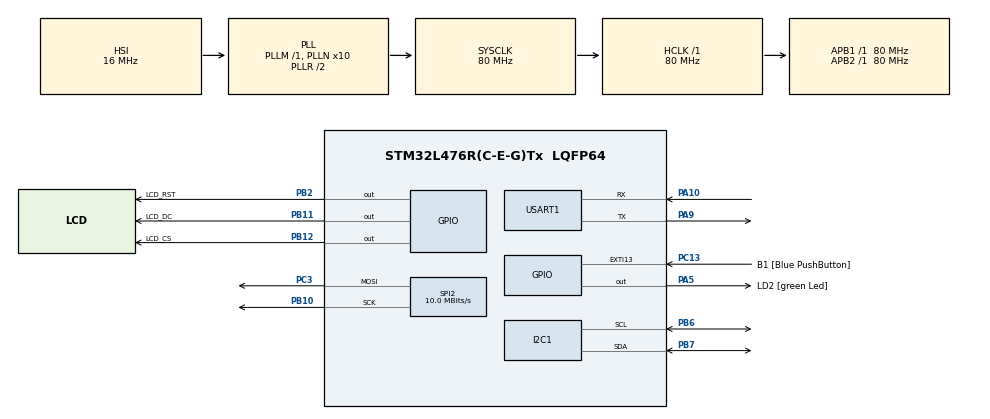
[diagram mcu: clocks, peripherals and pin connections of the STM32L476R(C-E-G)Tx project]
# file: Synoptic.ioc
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Dma.Request0=USART1_RX
Dma.Request1=SPI2_TX
Dma.SPI2_TX.1.Direction=DMA_MEMORY_TO_PERIPH
Dma.SPI2_TX.1.Instance=DMA1_Channel5
Dma.SPI2_TX.1.MemDataAlignment=DMA_MDATAALIGN_BYTE
Dma.SPI2_TX.1.MemInc=DMA_MINC_ENABLE
Dma.SPI2_TX.1.Mode=DMA_NORMAL
Dma.SPI2_TX.1.PeriphDataAlignment=DMA_PDATAALIGN_BYTE
Dma.SPI2_TX.1.PeriphInc=DMA_PINC_DISABLE
Dma.SPI2_TX.1.Priority=DMA_PRIORITY_LOW
Dma.USART1_RX.0.Direction=DMA_PERIPH_TO_MEMORY
Dma.USART1_RX.0.Instance=DMA2_Channel7
Dma.USART1_RX.0.MemDataAlignment=DMA_MDATAALIGN_BYTE
Dma.USART1_RX.0.MemInc=DMA_MINC_ENABLE
Dma.USART1_RX.0.Mode=DMA_NORMAL
Dma.USART1_RX.0.PeriphDataAlignment=DMA_PDATAALIGN_BYTE
Dma.USART1_RX.0.PeriphInc=DMA_PINC_DISABLE
Dma.USART1_RX.0.Priority=DMA_PRIORITY_LOW
I2C1.Timing=0x10909CEC
IWDG.Prescaler=IWDG_PRESCALER_64
Mcu.Family=STM32L4
Mcu.Name=STM32L476R(C-E-G)Tx
Mcu.Package=LQFP64
NVIC.DMA1_Channel5_IRQn=true\:0\:0\:false\:false\:true\:false\:true\:true
NVIC.DMA2_Channel7_IRQn=true\:0\:0\:false\:false\:true\:false\:true\:true
NVIC.PriorityGroup=NVIC_PRIORITYGROUP_4
NVIC.RTC_Alarm_IRQn=true\:0\:0\:false\:false\:true\:true\:true\:true
NVIC.USART1_IRQn=true\:0\:0\:false\:false\:true\:true\:true\:true
PA10.Mode=Asynchronous
PA10.Signal=USART1_RX
PA13\ (JTMS-SWDIO).GPIO_Label=TMS
PA13\ (JTMS-SWDIO).Mode=Serial_Wire
PA13\ (JTMS-SWDIO).Signal=SYS_JTMS-SWDIO
PA14\ (JTCK-SWCLK).GPIO_Label=TCK
PA14\ (JTCK-SWCLK).Mode=Serial_Wire
PA14\ (JTCK-SWCLK).Signal=SYS_JTCK-SWCLK
PA2.GPIO_Label=USART_TX
PA2.GPIO_Mode=GPIO_MODE_AF_PP
PA2.GPIO_PuPd=GPIO_NOPULL
PA2.GPIO_Speed=GPIO_SPEED_FREQ_VERY_HIGH
PA2.Signal=USART2_TX
PA3.GPIO_Label=USART_RX
PA3.GPIO_Mode=GPIO_MODE_AF_PP
PA3.GPIO_PuPd=GPIO_NOPULL
PA3.GPIO_Speed=GPIO_SPEED_FREQ_VERY_HIGH
PA3.Signal=USART2_RX
PA5.GPIO_Label=LD2 [green Led]
PA5.GPIO_ModeDefaultOutputPP=GPIO_MODE_OUTPUT_PP
PA5.GPIO_PuPd=GPIO_NOPULL
PA5.GPIO_Speed=GPIO_SPEED_FREQ_LOW
PA5.Signal=GPIO_Output
PA9.Mode=Asynchronous
PA9.Signal=USART1_TX
PB10.Mode=TX_Only_Simplex_Unidirect_Master
PB10.Signal=SPI2_SCK
PB11.GPIO_Label=LCD_DC
PB11.Signal=GPIO_Output
PB12.GPIO_Label=LCD_CS
PB12.PinState=GPIO_PIN_SET
PB12.Signal=GPIO_Output
PB2.GPIO_Label=LCD_RST
PB2.Signal=GPIO_Output
PB3\ (JTDO-TRACESWO).GPIO_Label=SWO
PB3\ (JTDO-TRACESWO).Signal=SYS_JTDO-SWO
PB6.Mode=I2C
PB6.Signal=I2C1_SCL
PB7.Mode=I2C
PB7.Signal=I2C1_SDA
PC13.GPIO_Label=B1 [Blue PushButton]
PC13.GPIO_ModeDefaultEXTI=GPIO_MODE_IT_FALLING
PC13.GPIO_PuPd=GPIO_NOPULL
PC13.Signal=GPXTI13
PC14-OSC32_IN\ (PC14).Mode=LSE-External-Oscillator
PC14-OSC32_IN\ (PC14).Signal=RCC_OSC32_IN
PC15-OSC32_OUT\ (PC15).Mode=LSE-External-Oscillator
PC15-OSC32_OUT\ (PC15).Signal=RCC_OSC32_OUT
PC3.Mode=TX_Only_Simplex_Unidirect_Master
PC3.Signal=SPI2_MOSI
PH0-OSC_IN\ (PH0).Signal=RCC_OSC_IN
PH1-OSC_OUT\ (PH1).Signal=RCC_OSC_OUT
ProjectManager.HeapSize=0x200
ProjectManager.StackSize=0x400
ProjectManager.TargetToolchain=STM32CubeIDE
RCC.ADCFreq_Value=64000000
RCC.AHBFreq_Value=80000000
RCC.APB1Freq_Value=80000000
RCC.APB1TimFreq_Value=80000000
RCC.APB2Freq_Value=80000000
RCC.APB2TimFreq_Value=80000000
RCC.CortexFreq_Value=80000000
RCC.HCLKFreq_Value=80000000
RCC.HSE_VALUE=8000000
RCC.HSI_VALUE=16000000
RCC.MSI_VALUE=4000000
RCC.PLLN=10
RCC.PLLSourceVirtual=RCC_PLLSOURCE_HSI
RCC.PREFETCH_ENABLE=1
RCC.SYSCLKFreq_VALUE=80000000
RCC.SYSCLKSource=RCC_SYSCLKSOURCE_PLLCLK
RCC.USBFreq_Value=64000000
RCC.VCOOutputFreq_Value=160000000
RTC.Alarm-Alarm\ A=RTC_ALARM_A
RTC.Format=RTC_FORMAT_BIN
SPI2.BaudRatePrescaler=SPI_BAUDRATEPRESCALER_8
SPI2.CalculateBaudRate=10.0 MBits/s
SPI2.DataSize=SPI_DATASIZE_8BIT
SPI2.Direction=SPI_DIRECTION_2LINES
SPI2.Mode=SPI_MODE_MASTER
SPI2.NSSPMode=SPI_NSS_PULSE_DISABLE
SPI2.VirtualType=VM_MASTER
USART1.OverrunDisableParam=ADVFEATURE_OVERRUN_DISABLE
USART1.VirtualMode-Asynchronous=VM_ASYNC
VP_IWDG_VS_IWDG.Mode=IWDG_Activate
VP_RTC_VS_RTC_Activate.Mode=RTC_Enabled
VP_RTC_VS_RTC_Alarm_A_Intern.Mode=Alarm A
VP_RTC_VS_RTC_Calendar.Mode=RTC_Calendar
board=NUCLEO-L476RG

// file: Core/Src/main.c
/* USER CODE BEGIN Header */
/**
  ******************************************************************************
  * @file           : main.c
  * @brief          : Main program body
  ******************************************************************************
  * @attention
  *
  * Copyright (c) 2022 STMicroelectronics.
  * All rights reserved.
  *
  * This software is licensed under terms that can be found in the LICENSE file
  * in the root directory of this software component.
  * If no LICENSE file comes with this software, it is provided AS-IS.
  *
  ******************************************************************************
  */
/* USER CODE END Header */
#include "main.h"
#include "dma.h"
#include "i2c.h"
#include "iwdg.h"
#include "rtc.h"
#include "spi.h"
#include "usart.h"
#include "gpio.h"

/* USER CODE BEGIN Includes */
#include "lcd.h"
#include "lps25hb.h"
#include <stdio.h>
#include "hagl.h"
#include "font6x9.h"
#include "font5x8.h"
#include <wchar.h>
#include "icons.c"
#include <math.h>
#include <stdbool.h>
#include <string.h>
#include "24aa01.h"

/* USER CODE END Includes */

/* USER CODE BEGIN PD */
#define MAXTXTLEN			100

#define RX_BUF_SIZE		1
#define SF_BUF_SIZE		100

/* USER CODE END PD */

/* USER CODE BEGIN PV */
uint8_t rx_buf[RX_BUF_SIZE];
uint8_t sf_buf[SF_BUF_SIZE];
uint8_t sf_buf_pos = 0;
uint8_t alarm_fl = 0;

typedef enum prog_mode {live_mode, history_mode} prog_mode_t;

/**
 * \brief Zbior zmiennych na potrzeby podprogramu 'live mode'.
 */
typedef struct hmdata{
	bool history_loaded;
	uint8_t *msrm_history;

} hmdata_t;

/**
 * \brief Zbior zmiennych, z ktorych korzystaja wszystkie podprogramy i programy dzialajace w tle.
 */
typedef struct prgsdata{
	prog_mode_t which_program;
	hmdata_t *hmdt;
	char line[MAXTXTLEN];
} prgsdata_t;

/* USER CODE END PV */

void SystemClock_Config(void);
/* USER CODE BEGIN PFP */
void chck_wchdog_fl();
void live_mode_prog();
void history_mode_prog(hmdata_t *hmdt);
void print_history(uint8_t[]);
void write_all_history_to_eeprom(uint8_t[]);
void fflush_sc_buff(prgsdata_t *prgs);
void set_date(int dd, int mm, int yy);
void set_time(int hh, int mm);
void clrtxtbuff(char* str, int size);
void prscmd(prgsdata_t *prgs, char* cmd);
void print_date();
void print_time();
void print_man();
void get_entry(uint8_t *entry);
void save_entry();
void print_mem();
void erasehis();
void memr(uint8_t addr);
void set_alarm_m_s(uint8_t min, uint8_t sec);
void alarm_settings();
void do_alarm_action();
void refhis(uint8_t* msrm_history);
void chprog(prog_mode_t *which_prog);
/* USER CODE END PFP */

int main(void)
{

  /* MCU Configuration--------------------------------------------------------*/

  /* Reset of all peripherals, Initializes the Flash interface and the Systick. */
  HAL_Init();

  /* Configure the system clock */
  SystemClock_Config();

  /* Initialize all configured peripherals */
  MX_GPIO_Init();
  MX_DMA_Init();
  MX_I2C1_Init();
  MX_SPI2_Init();
  MX_IWDG_Init();
  MX_USART1_UART_Init();
  MX_RTC_Init();
  /* USER CODE BEGIN 2 */
  chck_wchdog_fl();
  lps_init();
  lps_pressure_correction(48);
  printf("\r\n\n *** URUCHOMIENIE URZADZENIA *** \r\n\n");
  printf("UART pracuje poprawnie\r\n");
  printf("Testowy odczyt temperatury= %.2f\r\n", lps_read_temperature(U_CELSIUS));
  printf("Testowy odczyt cisnienia= %.2f\r\n", lps_read_relative_pressure());
  printf("Testowy odczyt wysokosci= %.2f\r\n", lps_get_altitude_hyps_f());
  lcd_init();
  hagl_init();

  HAL_UART_Receive_DMA(&huart1, rx_buf, 1);

  paint_screen_black();

  /* USER CODE END 2 */

  /* Infinite loop */
  /* USER CODE BEGIN WHILE */

  uint8_t history[HISTORY_NUMS*HISTORY_ROW_SIZE];
  hmdata_t hmdt = {false, history};
  prgsdata_t prgs = {live_mode, &hmdt, {'\0'}};

  while (1)
  {
    /* USER CODE END WHILE */

    /* USER CODE BEGIN 3 */

	fflush_sc_buff(&prgs);
	alarm_settings();

	switch(prgs.which_program){

		case live_mode:
			live_mode_prog();
			break;
		case history_mode:
			history_mode_prog(&hmdt);
			break;

	}

	HAL_Delay(500);

	HAL_IWDG_Refresh(&hiwdg);

  }
  hagl_close();
  /* USER CODE END 3 */
}

void SystemClock_Config(void)
{
  RCC_OscInitTypeDef RCC_OscInitStruct = {0};
  RCC_ClkInitTypeDef RCC_ClkInitStruct = {0};

  /** Configure the main internal regulator output voltage
  */
  if (HAL_PWREx_ControlVoltageScaling(PWR_REGULATOR_VOLTAGE_SCALE1) != HAL_OK)
  {
    Error_Handler();
  }

  /** Initializes the RCC Oscillators according to the specified parameters
  * in the RCC_OscInitTypeDef structure.
  */
  RCC_OscInitStruct.OscillatorType = RCC_OSCILLATORTYPE_HSI|RCC_OSCILLATORTYPE_LSI;
  RCC_OscInitStruct.HSIState = RCC_HSI_ON;
  RCC_OscInitStruct.HSICalibrationValue = RCC_HSICALIBRATION_DEFAULT;
  RCC_OscInitStruct.LSIState = RCC_LSI_ON;
  RCC_OscInitStruct.PLL.PLLState = RCC_PLL_ON;
  RCC_OscInitStruct.PLL.PLLSource = RCC_PLLSOURCE_HSI;
  RCC_OscInitStruct.PLL.PLLM = 1;
  RCC_OscInitStruct.PLL.PLLN = 10;
  RCC_OscInitStruct.PLL.PLLP = RCC_PLLP_DIV7;
  RCC_OscInitStruct.PLL.PLLQ = RCC_PLLQ_DIV2;
  RCC_OscInitStruct.PLL.PLLR = RCC_PLLR_DIV2;
  if (HAL_RCC_OscConfig(&RCC_OscInitStruct) != HAL_OK)
  {
    Error_Handler();
  }

  /** Initializes the CPU, AHB and APB buses clocks
  */
  RCC_ClkInitStruct.ClockType = RCC_CLOCKTYPE_HCLK|RCC_CLOCKTYPE_SYSCLK
                              |RCC_CLOCKTYPE_PCLK1|RCC_CLOCKTYPE_PCLK2;
  RCC_ClkInitStruct.SYSCLKSource = RCC_SYSCLKSOURCE_PLLCLK;
  RCC_ClkInitStruct.AHBCLKDivider = RCC_SYSCLK_DIV1;
  RCC_ClkInitStruct.APB1CLKDivider = RCC_HCLK_DIV1;
  RCC_ClkInitStruct.APB2CLKDivider = RCC_HCLK_DIV1;

  if (HAL_RCC_ClockConfig(&RCC_ClkInitStruct, FLASH_LATENCY_4) != HAL_OK)
  {
    Error_Handler();
  }
}

/* USER CODE BEGIN 4 */
void live_mode_prog(){

	// Konwersja tekstow do Wide Chara
	wchar_t text[MAXTXTLEN], text2[MAXTXTLEN], text3[MAXTXTLEN];
	swprintf(text, MAXTXTLEN, L"Temperatura: %.2f C", lps_read_temperature(U_CELSIUS));
	swprintf(text2, MAXTXTLEN, L"Cisnienie: %.2f Hpa", lps_read_relative_pressure());
	swprintf(text3, MAXTXTLEN, L"Wysokosc: %.0f m.n.p.m.", lps_get_altitude_hyps_f());

	hagl_put_text(text, 30, 17, RED, font6x9);
	hagl_put_text(text2, 30, 41, RED, font6x9);
	hagl_put_text(text3, 30, 70, RED, font6x9);

	// nie mam ikon?
	lcd_draw_image_fast(2,5,24,24,temp_icon);
	lcd_draw_image_fast(2,34,24,24,press_icon);
	lcd_draw_image_fast(2,63,24,24,alt_icon);

}
void history_mode_prog(hmdata_t *hmdt){

	if(!hmdt->history_loaded){
		load_history_from_eeprom(hmdt->msrm_history);

		print_history(hmdt->msrm_history);
		hmdt->history_loaded = true;

	} else if(hmdt->history_loaded){

		for(int i=0; i<HISTORY_NUMS; i++){

			int c = HISTORY_ROW_SIZE * i;
			wchar_t text[MAXTXTLEN];
			swprintf(text, MAXTXTLEN, L"%02d/%02d/%02d %02d:%02d %02d.%02d C", hmdt->msrm_history[c],hmdt->msrm_history[c+1], hmdt->msrm_history[c+2], hmdt->msrm_history[c+3],
																				  hmdt->msrm_history[c+4], hmdt->msrm_history[c+5], hmdt->msrm_history[c+6]);
			hagl_put_text(text, 5, i*20, RED, font6x9);
		}

	}
    //printf("History mode prog\r\n");
}

void refhis(uint8_t* msrm_history){
	load_history_from_eeprom(msrm_history);
}

/**
 * \brief Wystawia w tablicy entry bieżący odczyt daty, czasu i temperatury
 */
void get_entry(uint8_t *entry){

	RTC_TimeTypeDef mTime;
	RTC_DateTypeDef mDate;

	HAL_RTC_GetTime(&hrtc, &mTime, RTC_FORMAT_BIN);
  	HAL_RTC_GetDate(&hrtc, &mDate, RTC_FORMAT_BIN);

  	float temp = lps_read_temperature(U_CELSIUS);

  	uint8_t int_part = (uint8_t) temp;
  	uint8_t dec_part = (uint8_t)((temp-int_part)*100);

  	*entry = mDate.Date;
  	*(entry+1) = mDate.Month;
  	*(entry+2) = mDate.Year;
	*(entry+3) = mTime.Hours;
	*(entry+4) = mTime.Minutes;
	*(entry+5) = int_part;
	*(entry+6) = dec_part;
}

void print_history(uint8_t msrm_history[HISTORY_NUMS*EEPROM_PAGE_SIZE]){
	for(int i=0; i<HISTORY_NUMS; i++){
		for(int j=0; j<HISTORY_ROW_SIZE; j++){
			printf("%d ", msrm_history[i*HISTORY_ROW_SIZE+j]);
		}
		printf("\r\n");
	}
}

void chck_wchdog_fl(){
	if(__HAL_RCC_GET_FLAG(RCC_FLAG_IWDGRST)){
			printf("System zostal zresetowany przez Watchdoga\r\n");
			__HAL_RCC_CLEAR_RESET_FLAGS();
		} else{
			printf("System zostal uruchomiony poprawnie\r\n");
		}
}

void fflush_sc_buff(prgsdata_t *prgs){

	if(sf_buf_pos>0){
		sf_buf[sf_buf_pos] = '\0';
		int i=0;
		while(sf_buf[i]!='\0'){
			if(sf_buf[i]!='\r'){
				strncat(prgs->line, (char *)&sf_buf[i], 1);
			}

			if(sf_buf[i]=='\r') {
				printf("\n");
				prscmd(prgs, prgs->line);
				clrtxtbuff(prgs->line, MAXTXTLEN);
			}

			printf("%c", sf_buf[i]);
			i++;
			fflush(stdout);
		}
		sf_buf_pos = 0;
	}
}

void clrtxtbuff(char* str, int size){
	for(int i=0; i<size; i++){
		str[i] = '\0';
	}
}

void prscmd(prgsdata_t *prgs, char* cmd){
	char inst[10];
	int offset=0;

	sscanf(cmd, "%s %n", inst, &offset);

	if( strcmp(inst, "setdate" ) == 0){
		int d,m,y;
		sscanf(cmd+offset, "%d/%d/%d", &d, &m, &y);
		set_date(d,m,y);

	}
	else if( strcmp(inst, "settime" ) == 0){
		int h,m;
		sscanf(cmd+offset, "%d:%d", &h, &m);
		set_time(h, m);
	}

	else if( strcmp(inst, "print_time" ) == 0){
		print_time();
	}

	else if( strcmp(inst, "print_date" ) == 0){
		print_date();
	}

	else if( strcmp(inst, "man" ) == 0){
		print_man();
	}
	else if( strcmp(inst, "save" ) == 0){
		save_entry();
	}
	else if( strcmp(inst, "print_mem" ) == 0){
		print_mem();
	}
	else if( strcmp(inst, "erasemem" ) == 0){
		erasehis();
	}
	else if( strcmp(inst, "memr" ) == 0){
		int addr;
		sscanf(cmd+offset, "%d", &addr);
		memr((uint8_t)addr);
	}
	else if( strcmp(inst, "setal" ) == 0){
		int m,s;
		sscanf(cmd+offset, "%d:%d", &m, &s);
		set_alarm_m_s(m, s);
	}
	else if( strcmp(inst, "refhis" ) == 0){
		refhis(prgs->hmdt->msrm_history);
	}
	else if( strcmp(inst, "chprog" ) == 0){
		chprog(&prgs->which_program);
	}
}

void memr(uint8_t addr){
	uint8_t cont;
	read_eeprom_memcell(addr, &cont);
	printf("%x %d\r\n", addr, cont);
}

void erasehis(){
	uint8_t msrm[HISTORY_NUMS*HISTORY_ROW_SIZE];

	for(int i=0; i<HISTORY_NUMS*HISTORY_ROW_SIZE; i++)
		msrm[i] = '\0';
	save_history_to_eeprom(msrm);
}

void print_mem(){
	uint8_t msrm_history[HISTORY_NUMS*HISTORY_ROW_SIZE];

	load_history_from_eeprom(msrm_history);
	print_history(msrm_history);
}

void save_entry(){
	uint8_t entry[HISTORY_ROW_SIZE];
	get_entry(entry); // czy ja tutaj nie potrzebuje zaalokowac sobie 7 komorek pamieci?
	save_entry_to_eeprom(entry,HISTORY_ROW_SIZE);
}

void chprog(prog_mode_t *which_prog){
	if(*which_prog == live_mode) *which_prog = history_mode;
	else if(*which_prog == history_mode) *which_prog = live_mode;
	paint_screen_black();
}

void print_man(){
	printf("\r\n ***** CONSOLE MANUAL ****** \r\n\n");
	printf("setdate dd/mm/yy\r\n");
	printf("settime hh:mm\r\n");
	printf("printtime\r\n");
	printf("printdate\r\n");
	printf("save\r\n");
	printf("printmem\r\n");
	printf("erasemem\r\n");
	printf("memr\r\n");
	printf("setal\r\n");
	printf("refhis\r\n");
	printf("chprog\r\n");
	printf("\r\n ***************************\r\n\n");
}

void set_date(int dd, int mm, int yy){

	RTC_DateTypeDef tmp = {0};

	tmp.Date = (uint8_t) dd;
	tmp.Month = (uint8_t) mm;
	tmp.Year = (uint8_t)yy;

	HAL_RTC_SetDate(&hrtc, &tmp, RTC_FORMAT_BIN);
}

void set_time(int hh, int mm){
	RTC_TimeTypeDef tmp = {0};

	tmp.Hours = hh;
	tmp.Minutes = mm;

	HAL_RTC_SetTime(&hrtc, &tmp, RTC_FORMAT_BIN);

}

void print_date(){
	RTC_TimeTypeDef mTime;
	RTC_DateTypeDef mDate;

	HAL_RTC_GetTime(&hrtc, &mTime, RTC_FORMAT_BIN);
  	HAL_RTC_GetDate(&hrtc, &mDate, RTC_FORMAT_BIN);

  	printf("Date: %d/%d/%d\r\n", mDate.Date, mDate.Month, mDate.Year);

}

void print_time(){
	RTC_TimeTypeDef mTime;
	RTC_DateTypeDef mDate;

	HAL_RTC_GetTime(&hrtc, &mTime, RTC_FORMAT_BIN);
  	HAL_RTC_GetDate(&hrtc, &mDate, RTC_FORMAT_BIN);

  	printf("Time: %d:%d\r\n", mTime.Hours, mTime.Minutes);
}

/** \brief Ustawia alarm w trybie przerwan dla podanej min i sec
 *
 */
void set_alarm_m_s(uint8_t min, uint8_t sec){

	  RTC_AlarmTypeDef alarm;

	  alarm.AlarmTime.Hours = 0x0;
	  alarm.AlarmTime.Minutes = min;
	  alarm.AlarmTime.Seconds = sec;
	  alarm.AlarmTime.SubSeconds = 0x0;
	  alarm.AlarmTime.DayLightSaving = RTC_DAYLIGHTSAVING_NONE;
	  alarm.AlarmTime.StoreOperation = RTC_STOREOPERATION_RESET;
	  alarm.AlarmMask = RTC_ALARMMASK_NONE;
	  alarm.AlarmSubSecondMask = RTC_ALARMSUBSECONDMASK_ALL;
	  alarm.AlarmDateWeekDaySel = RTC_ALARMDATEWEEKDAYSEL_DATE;
	  alarm.AlarmDateWeekDay = 0x1;
	  alarm.Alarm = RTC_ALARM_A;

	  HAL_RTC_SetAlarm_IT(&hrtc, &alarm, RTC_FORMAT_BIN);
}

/** \brief Wykonanie akcji zwiazanej z podniesiona flaga alarmu RTC
 *
 */
void alarm_settings(){

	if(alarm_fl == 1){
		alarm_fl++; // do usuniecia?
		do_alarm_action();
		alarm_fl = 0;
	}

}

/**
 * \brief Wykonuje akcje przypisana do alarmu
 */
void do_alarm_action(){
	save_entry();
}

void HAL_UART_RxCpltCallback(UART_HandleTypeDef *huart){
		sf_buf[sf_buf_pos] = rx_buf[0];
		++sf_buf_pos;
		HAL_UART_Receive_DMA(&huart1, rx_buf, 1);
}

void HAL_RTC_AlarmAEventCallback(RTC_HandleTypeDef *hrtc){
	printf("Alarm!\r\n");
	alarm_fl++;
}

void HAL_SPI_TxCpltCallback(SPI_HandleTypeDef *hspi){
	if(hspi == &hspi2){
		lcd_transfer_completed();
	}
}

/* USER CODE END 4 */

void Error_Handler(void)
{
  __disable_irq();
  while (1)
  {
  }
}
